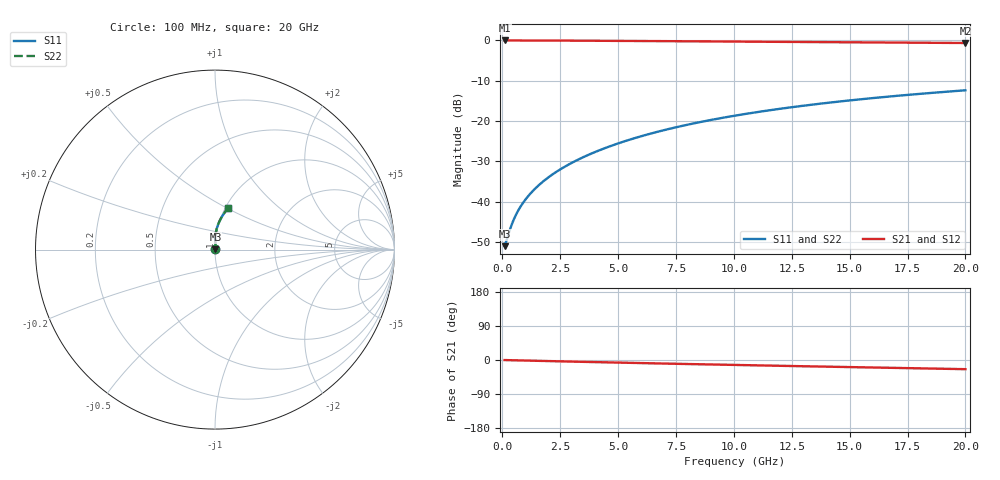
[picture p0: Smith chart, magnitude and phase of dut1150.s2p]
! Touchstone file exported from HFSS 2024.1.0
!  File:  C:/UserFiles/LocalFiles/RDL_TSV_Batchsim/temp_RDL_top_1150_1780048144.aedt
!  Generated:  05:51:26 PM May 29, 2026
!  Design:  RDL_top
!  Project:  temp_RDL_top_1150_1780048144
!  Setup:  Setup1
!  Solution:  Sweep
! Variables:
!  dtsv = 10.80580581um
!  hbump = 3um
!  htsv = 50.83um
!  ldown = 100um
!  lrdl = 321.91um
!  p = 40
!  p1 = 48.87um
!  rhole = 1um
!  t = 450um
!  tdown = 3.915915916um
!  trdl = 2.07um
!  wdown = 15.38538539um
!  wrdl = 25.32um
# GHz S MA R 50.000000
! Terminal data exported
! Port[1] = Box2_T1
! Port[2] = Box2_T2
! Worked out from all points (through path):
!   200 points, 100 MHz to 20 GHz, reference 50 ohm
!   highest |S21| = -0.02 dB at 100 MHz (marker M1); lowest = -0.7 dB at 20 GHz (marker M2)
!   group delay of S21, straight-line fit = 3.32 ps
!   lowest |S11| = -51.0 dB at 100 MHz (marker M3), VSWR 1.01, Z = 50.3 + j0.112 ohm
!   |S11| at or under -10 dB: start of sweep to end of sweep
!   |S22| runs from -51.0 to -12.4 dB; largest |S21 - S12| = 3.5e-15
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0.1  0.002826 23.3  0.9974 -0.2  0.9974 -0.2  0.002826 23.3
! Gamma 0 0 0 0
! Port Impedance 50 0 50 0
0.3  0.004277 50.4  0.9972 -0.5  0.9972 -0.5  0.004277 50.4
0.4  0.00517 57.1  0.9971 -0.6  0.9971 -0.6  0.00517 57.1
0.6  0.007006 65.0  0.9968 -0.9  0.9968 -0.9  0.007006 65.0
0.7  0.007926 67.6  0.9966 -1.0  0.9966 -1.0  0.007925 67.6
0.9  0.009762 71.5  0.9963 -1.3  0.9963 -1.3  0.00976 71.5
1.2  0.01254 75.6  0.9959 -1.7  0.9959 -1.7  0.01253 75.6
1.4  0.01441 77.7  0.9956 -2.0  0.9956 -2.0  0.01441 77.7
1.7  0.01728 80.1  0.995 -2.4  0.995 -2.4  0.01727 80.1
2.2  0.02219 83.0  0.994 -3.1  0.994 -3.1  0.02219 83.0
2.8  0.02832 85.3  0.9926 -4.0  0.9926 -4.0  0.02832 85.3
3.5  0.0358 87.0  0.9906 -4.9  0.9906 -4.9  0.0358 87.0
4.2  0.04361 88.0  0.9884 -5.8  0.9884 -5.8  0.04361 88.0
5  0.05291 88.5  0.9856 -6.9  0.9856 -6.9  0.05291 88.5
5.9  0.06378 88.6  0.9823 -8.0  0.9823 -8.0  0.06378 88.6
6.8  0.07498 88.3  0.9789 -9.2  0.9789 -9.2  0.07498 88.3
8.4  0.09543 87.0  0.9727 -11.1  0.9727 -11.1  0.09544 87.0
10.1  0.1175 85.2  0.9661 -13.1  0.9661 -13.1  0.1175 85.2
11.7  0.1383 83.2  0.96 -15.0  0.96 -15.0  0.1383 83.2
13.4  0.1602 81.0  0.9534 -16.9  0.9534 -16.9  0.1602 81.0
16.7  0.2015 76.7  0.9406 -20.6  0.9406 -20.6  0.2015 76.7
20  0.2408 72.5  0.9275 -24.2  0.9275 -24.2  0.2408 72.5
